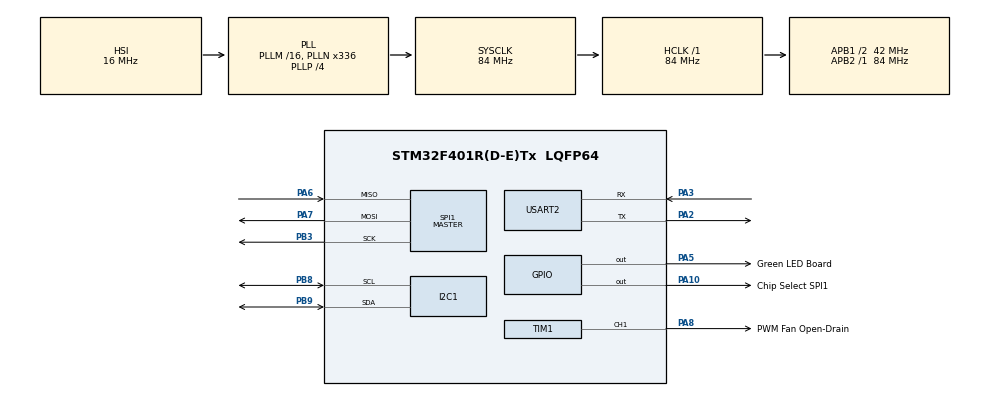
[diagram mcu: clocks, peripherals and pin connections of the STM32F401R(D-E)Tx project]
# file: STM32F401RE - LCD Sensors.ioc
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Mcu.Family=STM32F4
Mcu.Name=STM32F401R(D-E)Tx
Mcu.Package=LQFP64
NVIC.PriorityGroup=NVIC_PRIORITYGROUP_0
PA10.GPIO_Label=Chip Select SPI1
PA10.Signal=GPIO_Output
PA2.Mode=Asynchronous
PA2.Signal=USART2_TX
PA3.Mode=Asynchronous
PA3.Signal=USART2_RX
PA5.GPIO_Label=Green LED Board
PA5.Signal=GPIO_Output
PA6.Mode=Full_Duplex_Master
PA6.Signal=SPI1_MISO
PA7.Mode=Full_Duplex_Master
PA7.Signal=SPI1_MOSI
PA8.GPIO_Label=PWM Fan Open-Drain
PA8.GPIO_ModeDefaultPP=GPIO_MODE_AF_OD
PA8.Signal=S_TIM1_CH1
PB3.Mode=Full_Duplex_Master
PB3.Signal=SPI1_SCK
PB8.Mode=I2C
PB8.Signal=I2C1_SCL
PB9.Mode=I2C
PB9.Signal=I2C1_SDA
ProjectManager.HeapSize=0x200
ProjectManager.StackSize=0x400
ProjectManager.TargetToolchain=TrueSTUDIO
RCC.48MHZClocksFreq_Value=48000000
RCC.AHBFreq_Value=84000000
RCC.APB1CLKDivider=RCC_HCLK_DIV2
RCC.APB1Freq_Value=42000000
RCC.APB1TimFreq_Value=84000000
RCC.APB2Freq_Value=84000000
RCC.APB2TimFreq_Value=84000000
RCC.CortexFreq_Value=84000000
RCC.HCLKFreq_Value=84000000
RCC.HSE_VALUE=8000000
RCC.HSI_VALUE=16000000
RCC.LSE_VALUE=32768
RCC.PLLN=336
RCC.PLLP=RCC_PLLP_DIV4
RCC.PLLQ=7
RCC.SYSCLKFreq_VALUE=84000000
RCC.SYSCLKSource=RCC_SYSCLKSOURCE_PLLCLK
RCC.VCOOutputFreq_Value=336000000
SH.S_TIM1_CH1.0=TIM1_CH1,PWM Generation1 CH1
SPI1.BaudRatePrescaler=SPI_BAUDRATEPRESCALER_32
SPI1.Direction=SPI_DIRECTION_2LINES
SPI1.Mode=SPI_MODE_MASTER
SPI1.VirtualType=VM_MASTER
TIM1.Channel-PWM\ Generation1\ CH1=TIM_CHANNEL_1
TIM1.Period=40
TIM1.Prescaler=84
TIM1.Pulse-PWM\ Generation1\ CH1=0
USART2.VirtualMode=VM_ASYNC
VP_TIM1_VS_ClockSourceINT.Mode=Internal
board=NUCLEO-F401RE

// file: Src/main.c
/* USER CODE BEGIN Header */
/**
 ******************************************************************************
 * @file           : main.c
 * @brief          : Main program body
 ******************************************************************************
 * @attention
 *
 * <h2><center>&copy; Copyright (c) 2019 STMicroelectronics.
 * All rights reserved.</center></h2>
 *
 * This software component is licensed by ST under BSD 3-Clause license,
 * the "License"; You may not use this file except in compliance with the
 * License. You may obtain a copy of the License at:
 *                        opensource.org/licenses/BSD-3-Clause
 *
 ******************************************************************************
 */
/* USER CODE END Header */

#include "main.h"

/* USER CODE BEGIN Includes */
#include "LQGI/Linear_Quadratic_Gaussian_Integral_Regulator.h"
#include "MCP23017_LCD1602A/LCD16X2.h"
#include "MCP3008/MCP3008.h"

/* USER CODE END Includes */

/* USER CODE BEGIN PD */
#define MCP2307_ADDRESS 0x40
#define MCP2307_TRAILS 5
#define MCP2307_TIMEOUT 10

/* USER CODE END PD */

I2C_HandleTypeDef hi2c1;

SPI_HandleTypeDef hspi1;

TIM_HandleTypeDef htim1;

UART_HandleTypeDef huart2;

void SystemClock_Config(void);
static void MX_GPIO_Init(void);
static void MX_I2C1_Init(void);
static void MX_SPI1_Init(void);
static void MX_TIM1_Init(void);
static void MX_USART2_UART_Init(void);

/* USER CODE BEGIN 0 */
/*
 * Declare the dimension of square A matrix.
 * Dimension of output vector y.
 * Dimension of reference vector r.
 * Length of integral matrix xn;
 */
#define adim 10
#define ydim 1
#define rdim 1
#define xn 1

/* USER CODE END 0 */

int main(void) {

	/* MCU Configuration--------------------------------------------------------*/

	/* Reset of all peripherals, Initializes the Flash interface and the Systick. */
	HAL_Init();

	/* Configure the system clock */
	SystemClock_Config();

	/* Initialize all configured peripherals */
	MX_GPIO_Init();
	MX_I2C1_Init();
	MX_SPI1_Init();
	MX_TIM1_Init();
	MX_USART2_UART_Init();
	/* USER CODE BEGIN 2 */

	/*
	 * Init the LCD
	 */
	LCD1602_mcp23017(hi2c1, MCP2307_ADDRESS, MCP2307_TRAILS, MCP2307_TIMEOUT, GPIOA, GPIO_PIN_5);
	LCD1602_Begin8BIT();
	LCD1602_noCursor();
	LCD1602_noBlink();

	LCD1602_print("LQGI-Controller");
	LCD1602_2ndLine();

	/*
	 * Init the MCP3008
	 */
	MCP3008_Init(hspi1, GPIOA, GPIO_PIN_10);

	/*
	 * Init the PWM
	 */
	HAL_TIM_PWM_Start(&htim1, TIM_CHANNEL_1);

	/* USER CODE END 2 */

	/* Infinite loop */
	/* USER CODE BEGIN WHILE */
	/*
	 * Declare constants here
	 */

	/*
	 * Buffer for LCD
	 */
	char lcd_Text[16] = { 0 }; // Message

	/*
	 * Calibrate temperature sensor
	 */
	float max_adc = 1023.0; // Maximum ADC value
	float V33 = 3.3; // MCP9700A voltage Vdd
	float m = 0.5; // Voltage when temperature is 0
	float k = (1.5 - 0.5) / (100.0 - 0.0); // Slope for MCP9700A

	/*
	 * USB message
	 */
	uint8_t sendUSB[14] = {0};

	/*
     * Model A, B, C, D
     */
	const float A[adim * adim] = { 0.99500201,  -0.00656006,  -0.00324621,   0.00284745,   0.00474606,   0.00299756,   0.00053557,   0.00510325,   0.00195878,   0.00103930,
								   0.00656006,   0.99283815,  -0.02960128,   0.00526632,   0.01514675,   0.00524905,   0.01298864,   0.00695144,   0.01129487,   0.00493022,
								  -0.00324621,   0.02960128,   0.99274160,   0.02925795,   0.03278408,   0.02712715,  -0.01623747,   0.03996273,   0.00092537,   0.00275946,
								  -0.00284745,   0.00526632,  -0.02925795,   0.98010080,  -0.11692287,   0.00548336,  -0.13731362,   0.00838655,  -0.02404120,  -0.00952090,
								   0.00474606,  -0.01514675,   0.03278408,   0.11692287,   0.13819930,  -0.75274525,   0.61524332,  -0.08864197,   0.03148846,   0.01481154,
								  -0.00299756,   0.00524905,  -0.02712715,   0.00548336,   0.75274525,  -0.33361173,  -0.56018800,   0.01121465,  -0.02978725,  -0.00793863,
								   0.00053557,  -0.01298864,  -0.01623747,   0.13731362,   0.61524332,   0.56018800,   0.49924238,  -0.16479061,  -0.02304370,  -0.00928901,
								  -0.00510325,   0.00695144,  -0.03996273,   0.00838655,   0.08864197,   0.01121465,   0.16479061,   0.95896684,  -0.09604525,  -0.03548706,
								   0.00195878,  -0.01129487,   0.00092537,   0.02404120,   0.03148846,   0.02978725,  -0.02304370,   0.09604525,   0.77327414,   0.61147580,
								  -0.00103930,   0.00493022,  -0.00275946,  -0.00952090,  -0.01481154,  -0.00793863,   0.00928901,  -0.03548706,  -0.61147580,   0.78960433};
	const float B[adim * rdim] ={ -0.473079,
								   0.246331,
								  -0.174253,
								  -0.121266,
								   0.218141,
								  -0.127719,
								   0.051346,
								  -0.214983,
								   0.105775,
								  -0.055904};
	const float C[ydim * adim] = {-0.0126102,  -0.0065661,  -0.0046448,   0.0032324,   0.0058147,   0.0034044,   0.0013687,   0.0057305,   0.0028195,   0.0014901};
	const float D[ydim * rdim] = { 0 };

	/*
	 * Kalman steady state matrix K
	 */
	const float K[adim * ydim] = {-0.605326,
								  -0.304048,
								  -0.326261,
								  -0.011849,
								  -0.055601,
								   0.171333,
								   0.392499,
								   0.167388,
								   0.268947,
								   0.014662};
	/*
	 * Control law L
	 */
	const float L[rdim * adim] = {-0.748569,   0.336152,  -0.236959,  -0.072548,  -0.077530,  -0.558029,   0.771664,   0.406676,   0.483614,  -0.698279};

	/*
	 * Integral law Li
	 */
	const float Li[rdim * xn] = {0.39778};

	/*
	 * Initial states - Normally set to zero
	 */
	float x[adim * 1] = {0};
	float xi[xn * 1] = {0};

	/*
	 * Input signal, reference signal, output signal and state vector x and xi
	 */
	float qi = 0.5;		 // <-- Tune this in between 0->1, but qi =/= 1.
	float u[rdim * 1] = {0}; // <-- This is our input value we want to have
	float r[rdim * 1] = {25}; // <-- This is what we want to see.
	float y[ydim * 1] = {0}; // <-- This is our measurement. Set it.

	/*
	 * Anti-windup
	 * 0 = Integrate xi when r < y and r > y
	 * 1 = Delete xi when r < y, else integrate when r > y
	 * 2 = Only integrate xi when r < y, but stop integrate when r > y
	 */
	int anti_windup = 0;

	while (1) {
		/* USER CODE END WHILE */
		/*
		 * Read the potentiometer - 0 to 100
		 */
		uint16_t adc0 = MCP3008_Read_Channel(1);
		uint8_t reference = ((float) adc0) / 1023.0 * 100;

		/*
		 * Read the temperature sensor
		 */
		uint16_t adc1 = MCP3008_Read_Channel(0);
		float temperature = (((float) adc1) / max_adc * V33 - m) / k;
		uint8_t temp_first = (uint8_t) temperature;
		uint8_t temp_decimal = (uint8_t) ((temperature - ((float) temp_first)) * 100.0);

		/*
		 * Print out on LCD
		 */
		sprintf(lcd_Text, "Ref:%d T:%d.%d  ", reference, temp_first, temp_decimal); // Important with 2 spaces at the end
		LCD1602_setCursor(2, 1);
		LCD1602_print(lcd_Text);

		/*
		 * Set reference from potentiometer and the temperature from MCP9700A
		 */
		r[0] = (float) (reference);
		y[0] = temperature;

		/*
		 * Get u matrix
		 */
		LQGI(adim, ydim, rdim, xn, A, B, C, D, L, Li, K, u, r, y, x, xi, qi, anti_windup);
		if(u[0] < 0){
			u[0] = 0;
		}else if(u[0] > 100){
			u[0] = 100;
		}

		/*
		 * Change the speed of the fan
		 */
		uint32_t output = (uint32_t) u[0]; //reference * 0.4; // 0.4 is a tuning parameter for the potentiometer
		htim1.Instance->CCR1 = output;

		/*
		 * Send uint16 in form of 2 uint8 values due to the 8-bit UART
		 */
		adc0 = (uint16_t)r[0];
		adc1 = (uint16_t) y[0];
		uint16_t adc2 = (uint16_t) output;
		sendUSB[0] = 0x06; // ACK
		sendUSB[1] = (adc0 >> 8);
		sendUSB[2] = (adc0 & 0xFF);
		sendUSB[3] = (adc1 >> 8);
		sendUSB[4] = (adc1 & 0xFF);
		sendUSB[5] = (adc2 >> 8);
		sendUSB[6] = (adc2 & 0xFF);
		sendUSB[7] = 0x0;
		sendUSB[8] = 0x0;
		sendUSB[9] = 0x0;
		sendUSB[10] = 0x0;
		sendUSB[11] = 0x0;
		sendUSB[12] = 0x0;
		sendUSB[13] = 0x06; // ACK
		HAL_UART_Transmit(&huart2, sendUSB, 14, 10);

		/*
		 * Delay
		 */
		HAL_Delay(131);
	}
}

void SystemClock_Config(void) {
	RCC_OscInitTypeDef RCC_OscInitStruct = { 0 };
	RCC_ClkInitTypeDef RCC_ClkInitStruct = { 0 };

	/** Configure the main internal regulator output voltage
	 */
	__HAL_RCC_PWR_CLK_ENABLE()
	;
	__HAL_PWR_VOLTAGESCALING_CONFIG(PWR_REGULATOR_VOLTAGE_SCALE2);
	/** Initializes the CPU, AHB and APB busses clocks
	 */
	RCC_OscInitStruct.OscillatorType = RCC_OSCILLATORTYPE_HSI;
	RCC_OscInitStruct.HSIState = RCC_HSI_ON;
	RCC_OscInitStruct.HSICalibrationValue = RCC_HSICALIBRATION_DEFAULT;
	RCC_OscInitStruct.PLL.PLLState = RCC_PLL_ON;
	RCC_OscInitStruct.PLL.PLLSource = RCC_PLLSOURCE_HSI;
	RCC_OscInitStruct.PLL.PLLM = 16;
	RCC_OscInitStruct.PLL.PLLN = 336;
	RCC_OscInitStruct.PLL.PLLP = RCC_PLLP_DIV4;
	RCC_OscInitStruct.PLL.PLLQ = 7;
	if (HAL_RCC_OscConfig(&RCC_OscInitStruct) != HAL_OK) {
		Error_Handler();
	}
	/** Initializes the CPU, AHB and APB busses clocks
	 */
	RCC_ClkInitStruct.ClockType = RCC_CLOCKTYPE_HCLK | RCC_CLOCKTYPE_SYSCLK
			| RCC_CLOCKTYPE_PCLK1 | RCC_CLOCKTYPE_PCLK2;
	RCC_ClkInitStruct.SYSCLKSource = RCC_SYSCLKSOURCE_PLLCLK;
	RCC_ClkInitStruct.AHBCLKDivider = RCC_SYSCLK_DIV1;
	RCC_ClkInitStruct.APB1CLKDivider = RCC_HCLK_DIV2;
	RCC_ClkInitStruct.APB2CLKDivider = RCC_HCLK_DIV1;

	if (HAL_RCC_ClockConfig(&RCC_ClkInitStruct, FLASH_LATENCY_2) != HAL_OK) {
		Error_Handler();
	}
}

static void MX_I2C1_Init(void) {

	hi2c1.Instance = I2C1;
	hi2c1.Init.ClockSpeed = 100000;
	hi2c1.Init.DutyCycle = I2C_DUTYCYCLE_2;
	hi2c1.Init.OwnAddress1 = 0;
	hi2c1.Init.AddressingMode = I2C_ADDRESSINGMODE_7BIT;
	hi2c1.Init.DualAddressMode = I2C_DUALADDRESS_DISABLE;
	hi2c1.Init.OwnAddress2 = 0;
	hi2c1.Init.GeneralCallMode = I2C_GENERALCALL_DISABLE;
	hi2c1.Init.NoStretchMode = I2C_NOSTRETCH_DISABLE;
	if (HAL_I2C_Init(&hi2c1) != HAL_OK) {
		Error_Handler();
	}

}

static void MX_SPI1_Init(void) {

	/* SPI1 parameter configuration*/
	hspi1.Instance = SPI1;
	hspi1.Init.Mode = SPI_MODE_MASTER;
	hspi1.Init.Direction = SPI_DIRECTION_2LINES;
	hspi1.Init.DataSize = SPI_DATASIZE_8BIT;
	hspi1.Init.CLKPolarity = SPI_POLARITY_LOW;
	hspi1.Init.CLKPhase = SPI_PHASE_1EDGE;
	hspi1.Init.NSS = SPI_NSS_SOFT;
	hspi1.Init.BaudRatePrescaler = SPI_BAUDRATEPRESCALER_32;
	hspi1.Init.FirstBit = SPI_FIRSTBIT_MSB;
	hspi1.Init.TIMode = SPI_TIMODE_DISABLE;
	hspi1.Init.CRCCalculation = SPI_CRCCALCULATION_DISABLE;
	hspi1.Init.CRCPolynomial = 10;
	if (HAL_SPI_Init(&hspi1) != HAL_OK) {
		Error_Handler();
	}

}

static void MX_TIM1_Init(void) {

	TIM_ClockConfigTypeDef sClockSourceConfig = { 0 };
	TIM_MasterConfigTypeDef sMasterConfig = { 0 };
	TIM_OC_InitTypeDef sConfigOC = { 0 };
	TIM_BreakDeadTimeConfigTypeDef sBreakDeadTimeConfig = { 0 };

	htim1.Instance = TIM1;
	htim1.Init.Prescaler = 84;
	htim1.Init.CounterMode = TIM_COUNTERMODE_UP;
	htim1.Init.Period = 40;
	htim1.Init.ClockDivision = TIM_CLOCKDIVISION_DIV1;
	htim1.Init.RepetitionCounter = 0;
	htim1.Init.AutoReloadPreload = TIM_AUTORELOAD_PRELOAD_DISABLE;
	if (HAL_TIM_Base_Init(&htim1) != HAL_OK) {
		Error_Handler();
	}
	sClockSourceConfig.ClockSource = TIM_CLOCKSOURCE_INTERNAL;
	if (HAL_TIM_ConfigClockSource(&htim1, &sClockSourceConfig) != HAL_OK) {
		Error_Handler();
	}
	if (HAL_TIM_PWM_Init(&htim1) != HAL_OK) {
		Error_Handler();
	}
	sMasterConfig.MasterOutputTrigger = TIM_TRGO_RESET;
	sMasterConfig.MasterSlaveMode = TIM_MASTERSLAVEMODE_DISABLE;
	if (HAL_TIMEx_MasterConfigSynchronization(&htim1, &sMasterConfig)
			!= HAL_OK) {
		Error_Handler();
	}
	sConfigOC.OCMode = TIM_OCMODE_PWM1;
	sConfigOC.Pulse = 0;
	sConfigOC.OCPolarity = TIM_OCPOLARITY_HIGH;
	sConfigOC.OCNPolarity = TIM_OCNPOLARITY_HIGH;
	sConfigOC.OCFastMode = TIM_OCFAST_DISABLE;
	sConfigOC.OCIdleState = TIM_OCIDLESTATE_RESET;
	sConfigOC.OCNIdleState = TIM_OCNIDLESTATE_RESET;
	if (HAL_TIM_PWM_ConfigChannel(&htim1, &sConfigOC, TIM_CHANNEL_1)
			!= HAL_OK) {
		Error_Handler();
	}
	sBreakDeadTimeConfig.OffStateRunMode = TIM_OSSR_DISABLE;
	sBreakDeadTimeConfig.OffStateIDLEMode = TIM_OSSI_DISABLE;
	sBreakDeadTimeConfig.LockLevel = TIM_LOCKLEVEL_OFF;
	sBreakDeadTimeConfig.DeadTime = 0;
	sBreakDeadTimeConfig.BreakState = TIM_BREAK_DISABLE;
	sBreakDeadTimeConfig.BreakPolarity = TIM_BREAKPOLARITY_HIGH;
	sBreakDeadTimeConfig.AutomaticOutput = TIM_AUTOMATICOUTPUT_DISABLE;
	if (HAL_TIMEx_ConfigBreakDeadTime(&htim1, &sBreakDeadTimeConfig)
			!= HAL_OK) {
		Error_Handler();
	}
	HAL_TIM_MspPostInit(&htim1);

}

static void MX_USART2_UART_Init(void) {

	huart2.Instance = USART2;
	huart2.Init.BaudRate = 115200;
	huart2.Init.WordLength = UART_WORDLENGTH_8B;
	huart2.Init.StopBits = UART_STOPBITS_1;
	huart2.Init.Parity = UART_PARITY_NONE;
	huart2.Init.Mode = UART_MODE_TX_RX;
	huart2.Init.HwFlowCtl = UART_HWCONTROL_NONE;
	huart2.Init.OverSampling = UART_OVERSAMPLING_16;
	if (HAL_UART_Init(&huart2) != HAL_OK) {
		Error_Handler();
	}

}

static void MX_GPIO_Init(void) {
	GPIO_InitTypeDef GPIO_InitStruct = { 0 };

	/* GPIO Ports Clock Enable */
	__HAL_RCC_GPIOA_CLK_ENABLE()
	;
	__HAL_RCC_GPIOB_CLK_ENABLE()
	;

	/*Configure GPIO pin Output Level */
	HAL_GPIO_WritePin(GPIOA, Green_LED_Board_Pin | Chip_Select_SPI1_Pin,
			GPIO_PIN_RESET);

	/*Configure GPIO pins : Green_LED_Board_Pin Chip_Select_SPI1_Pin */
	GPIO_InitStruct.Pin = Green_LED_Board_Pin | Chip_Select_SPI1_Pin;
	GPIO_InitStruct.Mode = GPIO_MODE_OUTPUT_PP;
	GPIO_InitStruct.Pull = GPIO_NOPULL;
	GPIO_InitStruct.Speed = GPIO_SPEED_FREQ_LOW;
	HAL_GPIO_Init(GPIOA, &GPIO_InitStruct);

}

void Error_Handler(void) {
}

/************************ (C) COPYRIGHT STMicroelectronics *****END OF FILE****/
